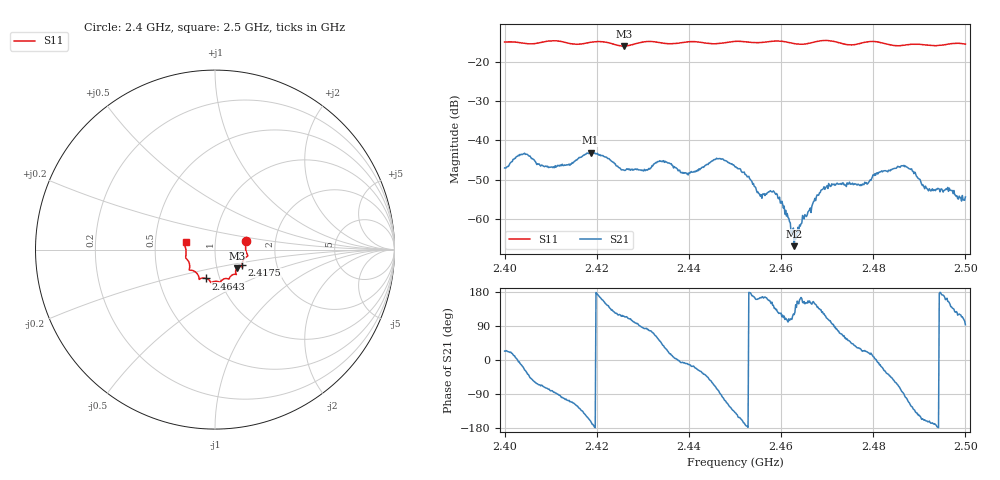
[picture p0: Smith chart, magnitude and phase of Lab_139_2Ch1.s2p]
# Hz S RI R 50
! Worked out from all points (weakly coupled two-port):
!   601 points, 2.4 GHz to 2.5 GHz, reference 50 ohm
!   highest |S21| = -43.12 dB at 2.4187 GHz (marker M1); lowest = -67.0 dB at 2.4628 GHz (marker M2)
!   lowest |S11| = -15.9 dB at 2.4258 GHz (marker M3), VSWR 1.38, Z = 62.3 - j13.2 ohm
!   |S11| at or under -10 dB: start of sweep to end of sweep
!   S12 and S22 are empty: the file has one direction only
!   S11 on the Smith chart (normalised r, x): 2.4 GHz: 1.41, +0.14; 2.4175 GHz: 1.34, -0.23; 2.4643 GHz: 0.86, -0.29; 2.5 GHz: 0.72, +0.06
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2.4e9  0.173 0.0487  0.00408 0.00177  0 0  0 0
2.403833e9  0.1725 0.0271  0.00633 -0.00183  0 0  0 0
2.41e9  0.1831 -0.0328  0.000674 -0.00449  0 0  0 0
2.416667e9  0.1528 -0.0743  -0.00422 -0.00443  0 0  0 0
2.4175e9  0.1518 -0.0837  -0.00538 -0.00389  0 0  0 0
2.418667e9  0.1524 -0.0931  -0.00661 -0.00223  0 0  0 0
2.425833e9  0.1218 -0.1031  -0.00184 0.00376  0 0  0 0
2.433333e9  0.1133 -0.1373  0.00302 0.00444  0 0  0 0
2.439333e9  0.0796 -0.1607  0.0038 -0.000631  0 0  0 0
2.446333e9  0.0453 -0.1657  0.00102 -0.00573  0 0  0 0
2.45e9  0.0291 -0.1811  -0.00345 -0.00304  0 0  0 0
2.455333e9  -0.000788 -0.1769  -0.00198 0.000584  0 0  0 0
2.458667e9  -0.0213 -0.1836  -0.00154 0.00145  0 0  0 0
2.462833e9  -0.0353 -0.1681  -0.000222 0.000388  0 0  0 0
2.464333e9  -0.0498 -0.1609  -0.000836 0.000223  0 0  0 0
2.466667e9  -0.0758 -0.1594  -0.00121 0.000777  0 0  0 0
2.469833e9  -0.0885 -0.1662  -0.000923 0.00239  0 0  0 0
2.4775e9  -0.1311 -0.1153  0.00241 0.00111  0 0  0 0
2.483333e9  -0.141 -0.0901  0.00329 -0.00255  0 0  0 0
2.487e9  -0.1551 -0.0559  -0.000706 -0.00466  0 0  0 0
2.4915e9  -0.1619 -0.0302  -0.00235 -0.000818  0 0  0 0
2.5e9  -0.1638 0.0429  -0.000102 0.00189  0 0  0 0
